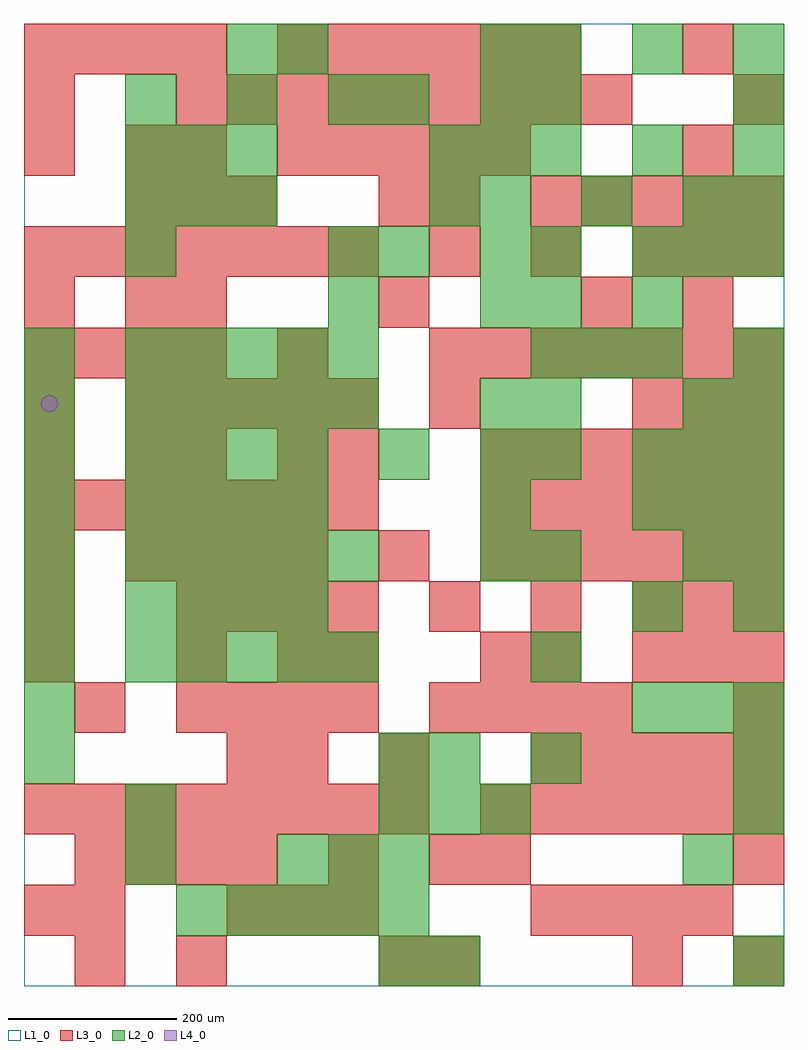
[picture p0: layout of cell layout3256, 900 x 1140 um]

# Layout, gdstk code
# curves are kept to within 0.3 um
import gdstk
lib = gdstk.Library(unit=1e-6, precision=1e-09)
def R(c, l, rs):  # rectangles x0, y0, x1, y1
    for r in rs: c.add(gdstk.rectangle(r[:2], r[2:], *l))
def A(c, l, x, y, w, h, nx, ny, dx, dy):  # array of equal rectangles
    R(c, l, [(x+i*dx, y+j*dy, x+i*dx+w, y+j*dy+h) for i in range(nx) for j in range(ny)])
def P(c, l, *ps):  # polygons
    for p in ps: c.add(gdstk.Polygon(p, *l))
L1_0 = (1, 0)
L2_0 = (2, 0)
L3_0 = (3, 0)
L4_0 = (4, 0)

layout3256 = lib.new_cell('layout3256')
R(layout3256, L1_0, [(0,0,900,1140)])
A(layout3256, L2_0, 180, 60, 60, 60, 5, 1, 60, 0)
A(layout3256, L2_0, 300, 120, 60, 60, 3, 1, 60, 0)
A(layout3256, L2_0, 420, 180, 60, 60, 3, 1, 60, 0)
A(layout3256, L2_0, 0, 240, 60, 60, 1, 9, 0, 60)
A(layout3256, L2_0, 600, 240, 60, 60, 1, 4, 0, 120)
A(layout3256, L2_0, 720, 300, 60, 60, 3, 2, 60, 240)
A(layout3256, L2_0, 120, 360, 60, 60, 5, 2, 60, 120)
A(layout3256, L2_0, 120, 420, 60, 60, 4, 2, 60, 120)
A(layout3256, L2_0, 540, 480, 60, 60, 1, 4, 0, 60)
A(layout3256, L2_0, 120, 600, 60, 60, 4, 1, 60, 0)
A(layout3256, L2_0, 720, 600, 60, 60, 3, 2, 60, 240)
A(layout3256, L2_0, 120, 660, 60, 60, 5, 2, 60, 60)
A(layout3256, L2_0, 600, 720, 60, 60, 3, 1, 60, 0)
A(layout3256, L2_0, 120, 900, 60, 60, 3, 2, 60, 60)
A(layout3256, L2_0, 540, 900, 60, 60, 3, 1, 120, 0)
A(layout3256, L2_0, 840, 900, 60, 60, 1, 3, 0, 60)
A(layout3256, L2_0, 480, 960, 60, 60, 3, 1, 60, 0)
A(layout3256, L2_0, 120, 1020, 60, 60, 3, 1, 120, 0)
A(layout3256, L2_0, 600, 1080, 60, 60, 3, 1, 120, 0)
R(layout3256, L2_0, [(420,0,480,60), (480,0,540,60), (840,0,900,60), (120,120,180,180), (780,120,840,180), (120,180,180,240), (840,180,900,240), (420,240,480,300), (480,240,540,300), (840,240,900,300), (720,420,780,480), (840,420,900,480), (780,480,840,540), (840,480,900,540), (420,600,480,660), (600,660,660,720), (780,660,840,720), (840,660,900,720), (840,720,900,780), (360,780,420,840), (540,780,600,840), (600,780,660,840), (720,780,780,840), (120,840,180,900), (360,840,420,900), (420,840,480,900), (540,840,600,900), (600,840,660,900), (480,900,540,960), (720,960,780,1020), (420,1020,480,1080), (540,1020,600,1080), (600,1020,660,1080), (240,1080,300,1140), (300,1080,360,1140), (540,1080,600,1140)])
A(layout3256, L3_0, 420, 0, 60, 60, 1, 3, 0, 240)
A(layout3256, L3_0, 240, 60, 60, 60, 3, 1, 60, 0)
A(layout3256, L3_0, 600, 60, 60, 60, 4, 1, 60, 0)
A(layout3256, L3_0, 60, 120, 60, 60, 4, 1, 60, 0)
A(layout3256, L3_0, 360, 120, 60, 60, 1, 3, 0, 240)
A(layout3256, L3_0, 0, 180, 60, 60, 8, 1, 60, 0)
A(layout3256, L3_0, 540, 180, 60, 60, 6, 2, 60, 300)
A(layout3256, L3_0, 600, 240, 60, 60, 5, 2, 60, 660)
A(layout3256, L3_0, 180, 300, 60, 60, 4, 2, 60, 120)
A(layout3256, L3_0, 480, 300, 60, 60, 4, 1, 60, 0)
A(layout3256, L3_0, 0, 360, 60, 60, 1, 3, 0, 60)
A(layout3256, L3_0, 720, 360, 60, 60, 3, 2, 60, 300)
A(layout3256, L3_0, 480, 420, 60, 60, 3, 2, 120, 420)
A(layout3256, L3_0, 120, 480, 60, 60, 4, 1, 60, 0)
A(layout3256, L3_0, 0, 540, 60, 60, 7, 2, 60, 300)
A(layout3256, L3_0, 540, 540, 60, 60, 6, 2, 60, 60)
A(layout3256, L3_0, 120, 600, 60, 60, 1, 3, 0, 180)
A(layout3256, L3_0, 120, 660, 60, 60, 5, 1, 60, 0)
A(layout3256, L3_0, 0, 720, 60, 60, 4, 2, 60, 360)
A(layout3256, L3_0, 480, 720, 60, 60, 7, 1, 60, 0)
A(layout3256, L3_0, 180, 780, 60, 60, 3, 1, 240, 0)
A(layout3256, L3_0, 780, 840, 60, 60, 1, 3, 0, 120)
A(layout3256, L3_0, 120, 900, 60, 60, 3, 1, 60, 0)
A(layout3256, L3_0, 300, 960, 60, 60, 5, 1, 60, 0)
A(layout3256, L3_0, 180, 1020, 60, 60, 9, 1, 60, 0)
A(layout3256, L3_0, 300, 1080, 60, 60, 6, 1, 60, 0)
R(layout3256, L3_0, [(60,0,120,60), (180,0,240,60), (480,0,540,60), (720,0,780,60), (840,0,900,60), (0,60,60,120), (60,60,120,120), (480,120,540,180), (540,120,600,180), (840,120,900,180), (240,240,300,300), (300,240,360,300), (60,300,120,360), (840,300,900,360), (180,360,240,420), (300,360,360,420), (540,360,600,420), (600,360,660,420), (780,420,840,480), (840,420,900,480), (0,600,60,660), (180,600,240,660), (300,600,360,660), (0,660,60,720), (480,660,540,720), (300,720,360,780), (0,780,60,840), (780,780,840,840), (840,840,900,900), (420,900,480,960), (480,900,540,960), (0,960,60,1020), (180,960,240,1020), (0,1020,60,1080), (840,1020,900,1080)])
P(layout3256, L4_0, [(40,690),(39.239,693.827),(37.071,697.071),(33.827,699.239),(30,700),(26.173,699.239),(22.929,697.071),(20.761,693.827),(20,690),(20.761,686.173),(22.929,682.929),(26.173,680.761),(30,680),(33.827,680.761),(37.071,682.929),(39.239,686.173)])

lib.write_gds('layout3256.gds')
